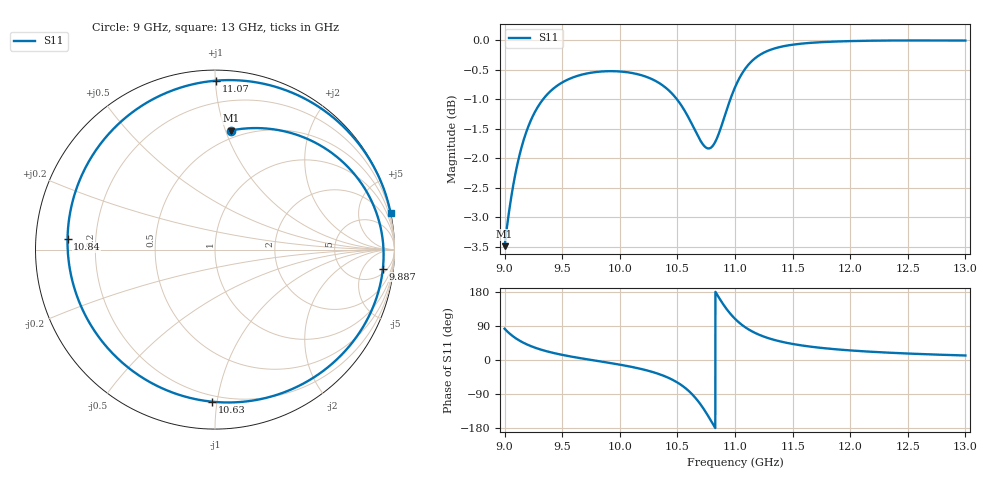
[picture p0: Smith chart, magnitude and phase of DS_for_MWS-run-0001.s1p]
! TOUCHSTONE file generated by CST DESIGN STUDIO
! Date and time: Wed Feb  5 13:36:05 2025
! Project name: C:\Work\MatlabApps\UnitCellOptimizationMatlab\CST\unitcell.cst
! Tree item: Tasks\Sweep1\SPara1\S-Parameters
! Header version: 2024
! Port assignment regex: !\s*Touchstone port\s*([0-9]+)\s*=\s*(CST MWS port|CST DES external port|CST DES block port)\s*(.+)\s* \(\"(.*)\"\)(\s*mode\s*([0-9]+))?.*
! Touchstone port assignment:
! Touchstone port 1 = CST DES external port 1 ("")
# GHz S MA R 50
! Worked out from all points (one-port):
!   4001 points, 9 GHz to 13 GHz, reference 50 ohm
!   lowest |S11| = -3.5 dB at 9 GHz (marker M1), VSWR 5.05, Z = 21.7 + j52.1 ohm
!   |S11| at or under -10 dB: nowhere
!   S11 on the Smith chart (normalised r, x): 9 GHz: 0.43, +1.04; 9.887 GHz: 7, -14; 10.63 GHz: 0.16, -0.97; 10.84 GHz: 0.10, +0.04; 11.07 GHz: 0.06, +1.01; 13 GHz: 0.03, +9.60
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9  0.6692 82.5
9.11  0.7844 54.8
9.211  0.8477 38.8
9.338  0.8923 25.3
9.5  0.921 13.6
9.887  0.9414 -6.5
10  0.9409 -12.3
10.302  0.9246 -33.3
10.41  0.9096 -45.4
10.5  0.8902 -59.4
10.566  0.8706 -73.3
10.63  0.8475 -91.1
10.682  0.8282 -109.5
10.73  0.8142 -130.0
10.788  0.8107 -158.4
10.838  0.8238 175.8
10.877  0.8429 156.6
10.922  0.8693 136.6
10.96  0.8915 121.9
11  0.9122 108.8
11.074  0.9415 89.6
11.159  0.9627 73.8
11.253  0.9764 61.4
11.364  0.9855 51.1
11.5  0.9914 42.3
12  0.9984 25.3
12.5  0.9996 17.1
13  0.9994 11.9
